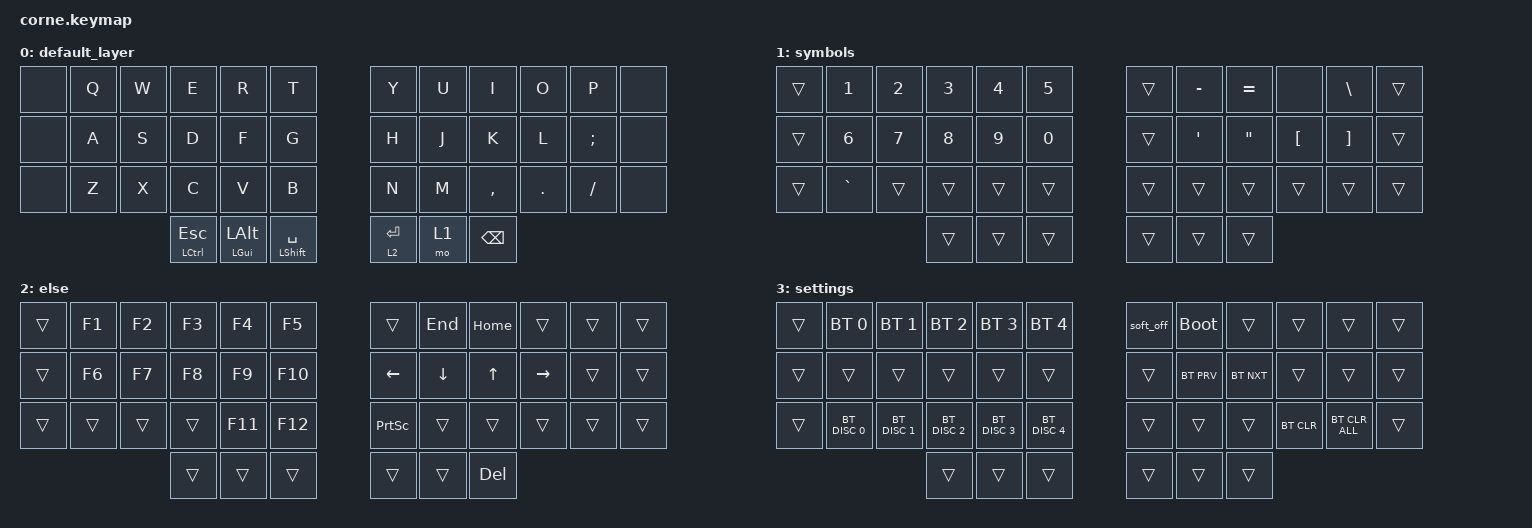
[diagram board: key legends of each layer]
/*
 * Copyright (c) 2020 The ZMK Contributors
 *
 * SPDX-License-Identifier: MIT
 */

#include <behaviors.dtsi>
#include <dt-bindings/zmk/bt.h>
#include <dt-bindings/zmk/keys.h>

/ {
    combos {
        compatible = "zmk,combos";

        tab {
            bindings = <&kp TAB>;
            key-positions = <13 14>;
            layers = <0>;
        };

        alt_tab {
            bindings = <&kp LA(TAB)>;
            key-positions = <13 38>;
        };

        password_menu {
            bindings = <&kp LS(LC(SPACE))>;
            key-positions = <10 13 14>;
        };

        settigns {
            bindings = <&tog 3>;
            key-positions = <5 6>;
        };
    };

    keymap {
        compatible = "zmk,keymap";

        default_layer {
            // -----------------------------------------------------------------------------------------
            // |  TAB |  Q  |  W  |  E  |  R  |  T  |   |  Y  |  U   |  I  |  O  |  P  | BSPC |
            // | CTRL |  A  |  S  |  D  |  F  |  G  |   |  H  |  J   |  K  |  L  |  ;  |  '   |
            // | SHFT |  Z  |  X  |  C  |  V  |  B  |   |  N  |  M   |  ,  |  .  |  /  | ESC  |
            //                    | GUI | LWR | SPC |   | ENT | RSE  | ALT |

            bindings = <
&none  &kp Q  &kp W  &kp E             &kp R                  &kp T                   &kp Y        &kp U  &kp I          &kp O    &kp P     &none
&none  &kp A  &kp S  &kp D             &kp F                  &kp G                   &kp H        &kp J  &kp K          &kp L    &kp SEMI  &none
&none  &kp Z  &kp X  &kp C             &kp V                  &kp B                   &kp N        &kp M  &kp COMMA      &kp DOT  &kp FSLH  &none
                     &mt LCTRL ESCAPE  &mt LEFT_GUI LEFT_ALT  &mt LEFT_SHIFT SPACE    &lt 2 ENTER  &mo 1  &kp BACKSPACE
            >;
        };

        symbols {
            bindings = <
&trans  &kp N1     &kp N2  &kp N3  &kp N4  &kp N5    &trans  &kp MINUS  &kp EQUAL          &none     &kp BSLH  &trans
&trans  &kp N6     &kp N7  &kp N8  &kp N9  &kp N0    &trans  &kp SQT    &kp DOUBLE_QUOTES  &kp LBKT  &kp RBKT  &trans
&trans  &kp GRAVE  &trans  &trans  &trans  &trans    &trans  &trans     &trans             &trans    &trans    &trans
                           &trans  &trans  &trans    &trans  &trans     &trans
            >;
        };

        else {
            bindings = <
&trans  &kp F1  &kp F2  &kp F3  &kp F4   &kp F5     &trans           &kp END   &kp HOME  &trans     &trans  &trans
&trans  &kp F6  &kp F7  &kp F8  &kp F9   &kp F10    &kp LEFT         &kp DOWN  &kp UP    &kp RIGHT  &trans  &trans
&trans  &trans  &trans  &trans  &kp F11  &kp F12    &kp PRINTSCREEN  &trans    &trans    &trans     &trans  &trans
                        &trans  &trans   &trans     &trans           &trans    &kp DEL
            >;
        };

        settings {
            bindings = <
&trans  &bt BT_SEL 0   &bt BT_SEL 1   &bt BT_SEL 2   &bt BT_SEL 3   &bt BT_SEL 4     &soft_off  &bootloader  &trans      &trans      &trans          &trans
&trans  &trans         &trans         &trans         &trans         &trans           &trans     &bt BT_PRV   &bt BT_NXT  &trans      &trans          &trans
&trans  &bt BT_DISC 0  &bt BT_DISC 1  &bt BT_DISC 2  &bt BT_DISC 3  &bt BT_DISC 4    &trans     &trans       &trans      &bt BT_CLR  &bt BT_CLR_ALL  &trans
                                      &trans         &trans         &trans           &trans     &trans       &trans
            >;
        };
    };
};
